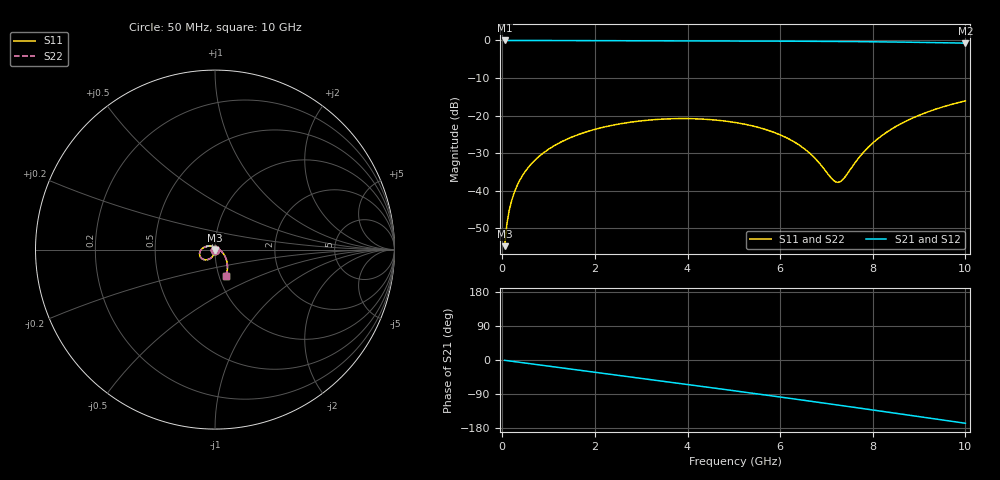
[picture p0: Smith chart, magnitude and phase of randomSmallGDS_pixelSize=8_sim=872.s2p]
! freq	dB(S11)	phase(S11)	dB(S12)	phase(S12)
!  dB(S21)	phase(S21)	dB(S22)	phase(S22)
!S-par simulation data
#  GHz  S  DB  R 50
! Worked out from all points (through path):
!   200 points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, 50 MHz to 10 GHz, reference 50 ohm
!   highest |S21| = 0.00 dB at 50 MHz (marker M1); lowest = -0.7 dB at 10 GHz (marker M2)
!   group delay of S21, straight-line fit = 46.2 ps
!   lowest |S11| = -54.7 dB at 50 MHz (marker M3), VSWR 1.00, Z = 50 - j0.183 ohm
!   |S11| at or under -10 dB: start of sweep to end of sweep
!   |S22| runs from -54.7 to -16.1 dB; largest |S21 - S12| = 0
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0.05  -54.75 -90.4  -0.00 -0.8  -0.00 -0.8  -54.75 -90.4
0.1  -48.73 -91.6  -0.00 -1.6  -0.00 -1.6  -48.73 -91.6
0.2  -42.71 -93.5  -0.01 -3.3  -0.01 -3.3  -42.71 -93.5
0.35  -37.86 -96.3  -0.01 -5.7  -0.01 -5.7  -37.86 -96.3
0.5  -34.79 -98.9  -0.01 -8.1  -0.01 -8.1  -34.79 -98.9
0.7  -31.92 -102.3  -0.02 -11.4  -0.02 -11.4  -31.92 -102.3
1  -28.94 -107.3  -0.02 -16.2  -0.02 -16.2  -28.94 -107.3
1.75  -24.59 -119.7  -0.04 -28.3  -0.04 -28.3  -24.59 -119.7
2.5  -22.28 -132.1  -0.07 -40.4  -0.07 -40.4  -22.28 -132.1
3.4  -20.98 -147.1  -0.10 -54.9  -0.10 -54.9  -20.98 -147.1
4.25  -20.88 -161.7  -0.12 -68.7  -0.12 -68.7  -20.88 -161.7
5.05  -21.88 -176.4  -0.15 -81.8  -0.15 -81.8  -21.88 -176.4
6  -25.12 163.2  -0.18 -97.6  -0.18 -97.6  -25.12 163.2
6.4  -27.74 151.5  -0.21 -104.4  -0.21 -104.4  -27.74 151.5
6.7  -30.71 138.4  -0.22 -109.5  -0.22 -109.5  -30.71 138.4
7.1  -36.58 97.2  -0.25 -116.3  -0.25 -116.3  -36.61 97.3
7.25  -37.77 64.0  -0.27 -118.9  -0.27 -118.9  -37.81 64.0
7.35  -37.06 40.6  -0.28 -120.6  -0.28 -120.6  -37.10 40.6
7.9  -28.45 -16.0  -0.34 -130.1  -0.34 -130.1  -28.46 -16.1
8.35  -24.02 -32.0  -0.40 -138.0  -0.40 -138.0  -24.02 -32.1
9.1  -19.42 -49.9  -0.52 -151.1  -0.52 -151.1  -19.43 -50.0
10  -16.09 -67.6  -0.72 -167.0  -0.72 -167.0  -16.09 -67.7
